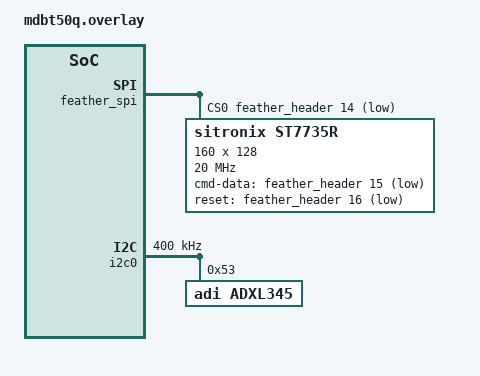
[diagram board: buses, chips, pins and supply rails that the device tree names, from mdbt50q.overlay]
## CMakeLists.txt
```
# SPDX-License-Identifier: Apache-2.0

cmake_minimum_required(VERSION 3.20.0)
find_package(Zephyr REQUIRED HINTS $ENV{ZEPHYR_BASE})
project(mdpp_template)

target_sources(app PRIVATE src/main.c)

# Custom files and folders

target_sources(app PRIVATE
    src/remote_service/remote.c
)

zephyr_library_include_directories(src/remote_service)

target_sources(app PRIVATE
    src/adxl345_i2c/adxl345.c
)

zephyr_library_include_directories(src/adxl345_i2c)
```

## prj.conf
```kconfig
CONFIG_USB_DEVICE_STACK=y
CONFIG_USB_DEVICE_PRODUCT="Zephyr USB console sample"

CONFIG_SERIAL=y
CONFIG_CONSOLE=y
CONFIG_UART_CONSOLE=y
CONFIG_UART_LINE_CTRL=y

# # Configure logger
# CONFIG_LOG=y

# Configure buttons and LEDs.
CONFIG_GPIO=y
CONFIG_DK_LIBRARY=y

# Configure Bluetooth
CONFIG_BT=y
CONFIG_BT_PERIPHERAL=y
CONFIG_BT_DEVICE_NAME="MDPP_BLE"
CONFIG_BT_DEVICE_APPEARANCE=0
CONFIG_BT_MAX_CONN=1
CONFIG_BT_LL_SOFTDEVICE=y

# Enable mcumgr.
CONFIG_MCUMGR=y

# Enable most core commands.
CONFIG_MCUMGR_CMD_IMG_MGMT=y
CONFIG_MCUMGR_CMD_OS_MGMT=y

# Ensure an MCUboot-compatible binary is generated.
CONFIG_BOOTLOADER_MCUBOOT=y

# Allow for large Bluetooth data packets.
CONFIG_BT_L2CAP_TX_MTU=252
CONFIG_BT_BUF_ACL_RX_SIZE=256

# Enable the Bluetooth (unauthenticated) and shell mcumgr transports.
CONFIG_MCUMGR_SMP_BT=y
CONFIG_MCUMGR_SMP_BT_AUTHEN=n

#ADXL 345 I2C Settings
CONFIG_I2C=y
CONFIG_SENSOR=y
CONFIG_ADXL345=y

CONFIG_ASSERT=y

# Some command handlers require a large stack.
CONFIG_SYSTEM_WORKQUEUE_STACK_SIZE=4096

CONFIG_LV_Z_MEM_POOL_NUMBER_BLOCKS=8
CONFIG_MAIN_STACK_SIZE=2048

CONFIG_SPI=y
CONFIG_DISPLAY=y
CONFIG_ST7735R=y
CONFIG_DISPLAY_LOG_LEVEL_ERR=y

CONFIG_LVGL=y
CONFIG_LV_COLOR_16_SWAP=y
CONFIG_LV_COLOR_DEPTH_16=y
CONFIG_LV_USE_LOG=y
CONFIG_LV_USE_LABEL=y
CONFIG_LV_USE_IMG=y
CONFIG_LV_FONT_DEFAULT_MONTSERRAT_16=y
CONFIG_LV_FONT_MONTSERRAT_16=y
```

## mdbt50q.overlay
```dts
// To get started, press Ctrl+Space to bring up the completion menu and view the available nodes.
// For more help, browse the DeviceTree documentation at https://docs.zephyrproject.org/latest/guides/dts/index.html

/ {
	chosen {
		zephyr,display = &st7735r;
	};
};

&feather_spi {
	status = "okay";
	cs-gpios = <&feather_header 14 GPIO_ACTIVE_LOW>;	/* D5 */

	st7735r: st7735r@0 {
		compatible = "sitronix,st7735r";
		label = "ST7735R";
		spi-max-frequency = <20000000>;
		reg = <0>;
		cmd-data-gpios = <&feather_header 15 GPIO_ACTIVE_LOW>;	/* D6 */
		reset-gpios = <&feather_header 16 GPIO_ACTIVE_LOW>;	/* D9 */
		width = <160>;
		height = <128>;
		x-offset = <0>;
		y-offset = <0>;
		madctl = <0x60>;
		colmod = <0x55>;
		vmctr1 = <0x0e>;
		pwctr1 = [a2 02 84];
		pwctr2 = [c5];
		pwctr3 = [0a 00];
		pwctr4 = [8a 2a];
		pwctr5 = [8a ee];
		frmctr1 = [01 2c 2d];
		frmctr2 = [01 2c 2d];
		frmctr3 = [01 2c 2d 01 2c 2d];
		gamctrp1 = [02 1c 07 12 37 32 29 2d 29 25 2b 39 00 01 03 10];
		gamctrn1 = [03 1d 07 06 2e 2c 29 2d 2e 2e 37 3f 00 00 02 10];
	};
};

&i2c0 {
	clock-frequency = <I2C_BITRATE_FAST>;
    adxl345@53 {
		compatible = "adi,adxl345";
		label = "ADXL345";
		reg = <0x53>;
	};
};

// / {
// 	chosen {
// 		zephyr,console = &cdc_acm_uart0;
// 	};
// };

// &zephyr_udc0 {
// 	cdc_acm_uart0: cdc_acm_uart0 {
// 		compatible = "zephyr,cdc-acm-uart";
// 		label = "CDC_ACM_0";
// 	};
// };
```

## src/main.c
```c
#include <zephyr/zephyr.h>

#include <zephyr/device.h>
#include <stdio.h>
#include <string.h>

#include <zephyr/devicetree.h>

#include "adxl345.h"

#include <zephyr/usb/usb_device.h>
#include <zephyr/drivers/uart.h>
#include <zephyr/drivers/gpio.h>

bool isDataReady = false;
struct adxl345_data adxl345_data;
K_SEM_DEFINE(sem, 0, 1);

static void repeating_timer_callback(struct k_work *dummy){
	
	int err = readXYZ(&adxl345_data);
	if(err != 0){
		printk("Failed to read adxl345 data");
	}
	isDataReady = false;
	k_sem_give(&sem);
}

K_WORK_DEFINE(repeating_timer_work, repeating_timer_callback);

void isr_fn(const struct device *dev, struct gpio_callback *cb,
		    uint32_t pins)
{
	isDataReady = true;
	k_work_submit(&repeating_timer_work);	
	printk("ISR triggered at %" PRIu32 "\n", k_cycle_get_32());
}
/* STEP 3 - Define a variable of type static struct gpio_callback */
static struct gpio_callback cb_data;

void main(void)
{
	int err;	
	printk("Hello World! %s\n", CONFIG_BOARD);

	const struct device *gpio;

	gpio = device_get_binding("GPIO_1");
	if (gpio == NULL) {
		return;
	}

	err = gpio_pin_configure(gpio, 9, GPIO_INPUT);
    if (err < 0) {
        return;
    }
	/* STEP 4 - Configure the interrupt on the pin by calling the function gpio_pin_interrupt_configure()  */
    err = gpio_pin_interrupt_configure(gpio, 9, GPIO_INT_EDGE_TO_ACTIVE);	
	/* STEP 6 - Initialize the static struct gpio_callback variable   */
	gpio_init_callback(&cb_data, isr_fn, BIT(9));	
	/* STEP 7 - Add the callback function by calling gpio_add_callback()   */
	gpio_add_callback(gpio, &cb_data);	

	err = adxl345_init();
	if(err != 0){
        printk("Failed to init ADXL345");
    }	

	do{
		err = readXYZ(&adxl345_data);
		if(err != 0) {
			printk("Failed to read adxl345 data");
		}	
		// printk("X:%d,Y:%d,Z:%d\r\n", adxl345_data.x, adxl345_data.y, adxl345_data.z); 
	} while(!isDataReady);
	

	while (1) {			
		k_sem_take(&sem, K_FOREVER);		
		printk("X:%d,Y:%d,Z:%d\r\n", adxl345_data.x, adxl345_data.y, adxl345_data.z); 
	}	
}
```
